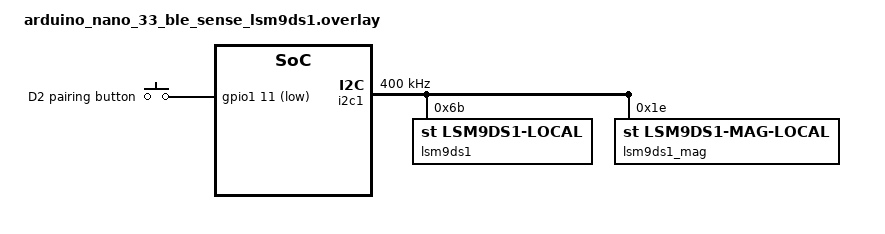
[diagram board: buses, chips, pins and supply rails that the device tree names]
#include <zephyr/dt-bindings/i2c/i2c.h>

/ {
	buttons {
		compatible = "gpio-keys";
		button0: button_0 {
			gpios = <&gpio1 11 (GPIO_PULL_UP | GPIO_ACTIVE_LOW)>;
			label = "D2 pairing button";
		};
	};

	aliases {
		accel0 = &lsm9ds1;
		magn0 = &lsm9ds1_mag;
		sw0 = &button0;
	};
};

&i2c1 {
	status = "okay";
	clock-frequency = <I2C_BITRATE_FAST>;

	lsm9ds1: lsm9ds1@6b {
		compatible = "st,lsm9ds1-local";
		reg = <0x6b>;
		status = "okay";
	};

	lsm9ds1_mag: lsm9ds1-mag@1e {
		compatible = "st,lsm9ds1-mag-local";
		reg = <0x1e>;
		status = "okay";
	};
};
